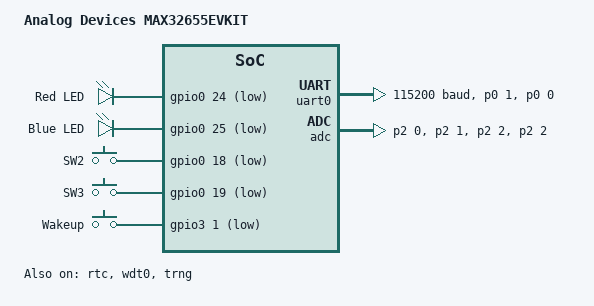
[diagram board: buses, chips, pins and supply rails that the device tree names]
/*
 * Copyright (c) 2023 Analog Devices, Inc.
 *
 * SPDX-License-Identifier: Apache-2.0
 */

/dts-v1/;

 #include <adi/max32/max32655.dtsi>
 #include <adi/max32/max32655-pinctrl.dtsi>
 #include <zephyr/dt-bindings/gpio/adi-max32-gpio.h>

/ {
	 model = "Analog Devices MAX32655EVKIT";
	 compatible = "adi,max32655evkit";

	 chosen {
		 zephyr,console = &uart0;
		 zephyr,shell-uart = &uart0;
		 zephyr,sram = &sram0;
		 zephyr,flash = &flash0;
	 };

	 leds {
		 compatible = "gpio-leds";
		 led1: led_1 {
			 gpios = <&gpio0 24 GPIO_ACTIVE_LOW>;
			 label = "Red LED";
		 };
		 led2: led_2 {
			 gpios = <&gpio0 25 GPIO_ACTIVE_LOW>;
			 label = "Blue LED";
		 };
	 };

	 buttons {
		 compatible = "gpio-keys";
		 pb1: pb1 {
			 gpios = <&gpio0 18 (GPIO_PULL_UP | GPIO_ACTIVE_LOW)>;
			 label = "SW2";
		 };
		 pb2: pb2 {
			 gpios = <&gpio0 19 (GPIO_PULL_UP | GPIO_ACTIVE_LOW)>;
			 label = "SW3";
		 };
		 pb_wakeup: pb_wakeup {
			gpios = <&gpio3 1 (GPIO_PULL_UP | GPIO_ACTIVE_LOW)>;
			label = "Wakeup";
		};
	 };

	 /* These aliases are provided for compatibility with samples */
	 aliases {
		led0 = &led1;
		led1 = &led2;
		sw0 = &pb1;
		sw1 = &pb2;
		rtc = &rtc;
		watchdog0 = &wdt0;
	 };
};

&uart0 {
	pinctrl-0 = <&uart0a_tx_p0_1 &uart0a_rx_p0_0>;
	pinctrl-names = "default";
	current-speed = <115200>;
	data-bits = <8>;
	parity = "none";
	status = "okay";
};

&adc {
	status = "okay";
	pinctrl-0 = <&ain0_p2_0 &ain1_p2_1 &ain2_p2_2 &ain2_p2_2>;
	pinctrl-names = "default";
	#address-cells = <1>;
	#size-cells = <0>;
};

&clk_ipo {
	status = "okay";
};

/*
 * ERTCO requires for RTC
 */
&clk_ertco {
	status = "okay";
};

/*
 * IBRO clock requires for UART
 */
&clk_ibro {
	status = "okay";
};

&gpio0 {
	status = "okay";
};

&gpio1 {
	status = "okay";
};

&gpio2 {
	status = "okay";
};

&gpio3 {
	status = "okay";
};

&rtc {
	status = "okay";
	alarms-count = <1>;
};

&wdt0 {
	status = "okay";
};

&dma0 {
	status = "okay";
};

&trng {
	status = "okay";
};
